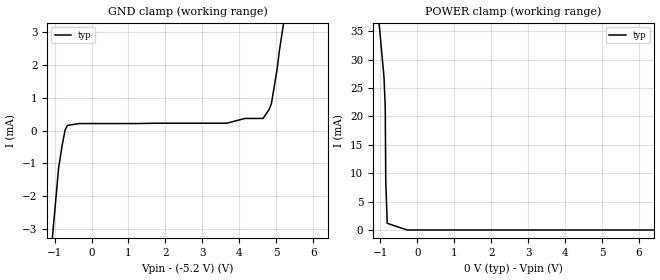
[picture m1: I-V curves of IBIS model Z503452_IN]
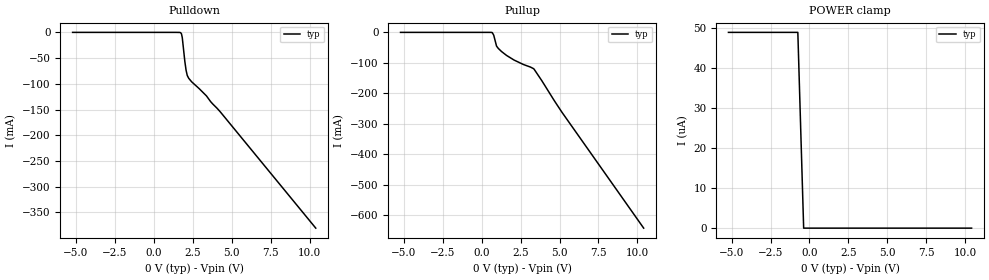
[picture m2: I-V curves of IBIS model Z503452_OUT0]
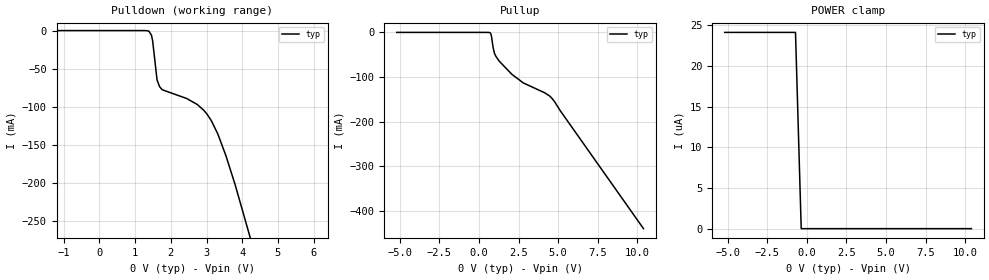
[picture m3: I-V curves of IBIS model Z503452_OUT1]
| YOU ARE ONLY AUTHORIZED TO USE THIS SOFTWARE
| ACCORDING TO LICENSOR'S LICENSE RESTRICTIONS.
[IBIS Ver] 3.1
[File Name] mc10h209p.ibs
[File Rev] 2.0
[Source] Measured and created by ICX Technology
[Date] Friday 7/14/00 9:07:50 AM
[Copyright]
| (C) COPYRIGHT 1993-2000
| MENTOR GRAPHICS CORPORATION
| ICX STANDARD LIBRARY, ICX PROJECT MODELING,
| ICX CUSTOM MODELING, ICX VENDOR MODEL
| ALL RIGHTS RESERVED.
| THE FOLLOWING ARE TRADEMARKS OR SERVICE MARKS OF
| MENTOR GRAPHICS CORPORATION:ICX (R), ICX STANDARD
| LIBRARY(R), ICX PROJECT MODELING(R), ICX CUSTOM
| MODELING(R), qualityIBIS(TM), MODELVIEWER(TM),
| AND MODELEDITOR(TM)
| ALL COPIES OF SOFTWARE, INCLUDING BUT NOT LIMITED TO
| ANY MODIFICATIONS, ENHANCEMENTS OR DERIVATIVE WORKS,
| MUST CONTAIN ALL MENTOR GRAPHICS CORPORATION'S
| NOTICES AND LEGENDS, INCLUDING THOSE EMBEDDED IN
| SOFTWARE AND THOSE AFFIXED TO SOFTWARE MEDIUM
| AND CONTAINER, AS RECEIVED FROM MENTOR GRAPHICS
| CORPORATION.
|  ZAP Model Builder 2.7
[Component] MC10H209P
[Manufacturer] OnSemiconductor
[Package]
| variable   typ   min   max
R_pkg  .212ohms NA NA
L_pkg  4.758nH NA NA
C_pkg  1.143pF NA NA
[Pin] signal_name  model_name  R_pin  L_pin C_pin
1 VCC1 POWER .224 7.258n 1.578p
2 AOUT Z503452_OUT0 .216 5.258n 1.288p
3 _AOUT Z503452_OUT1 .208 3.758n .998p
4 AIN Z503452_IN .2 2.758n .708p
5 AIN Z503452_IN .2 2.758n .708p
6 AIN Z503452_IN .208 3.758n .998p
7 AIN Z503452_IN .216 5.258n 1.288p
8 VEE POWER .224 7.258n 1.578p
9 BIN Z503452_IN .224 7.258n 1.578p
10 BIN Z503452_IN .216 5.258n 1.288p
11 BIN Z503452_IN .208 3.758n .998p
12 BIN Z503452_IN .2 2.758n .708p
13 BIN Z503452_IN .2 2.758n .708p
14 _BOUT Z503452_OUT1 .208 3.758n .998p
15 BOUT Z503452_OUT0 .216 5.258n 1.288p
16 VCC2 POWER .224 7.258n 1.578p
| Models and submodels in the file (3): Z503452_IN (Input_ECL), Z503452_OUT0 (Output_ECL), Z503452_OUT1 (Output_ECL)
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| (C) COPYRIGHT 1993-2000
| MENTOR GRAPHICS CORPORATION
| ICX STANDARD LIBRARY, ICX PROJECT MODELING,
| ICX CUSTOM MODELING, ICX VENDOR MODEL
| ALL RIGHTS RESERVED.
| THE FOLLOWING ARE TRADEMARKS OR SERVICE MARKS OF
| MENTOR GRAPHICS CORPORATION:ICX (R), ICX STANDARD
| LIBRARY(R), ICX PROJECT MODELING(R), ICX CUSTOM
| MODELING(R), qualityIBIS(TM), MODELVIEWER(TM),
| AND MODELEDITOR(TM)
| ALL COPIES OF SOFTWARE, INCLUDING BUT NOT LIMITED TO
| ANY MODIFICATIONS, ENHANCEMENTS OR DERIVATIVE WORKS,
| MUST CONTAIN ALL MENTOR GRAPHICS CORPORATION'S
| NOTICES AND LEGENDS, INCLUDING THOSE EMBEDDED IN
| SOFTWARE AND THOSE AFFIXED TO SOFTWARE MEDIUM
| AND CONTAINER, AS RECEIVED FROM MENTOR GRAPHICS
| CORPORATION.
| Model Application Version 1.89 2/18/99.
[Model] Z503452_IN
Model_type Input_ECL
Vinl = -1.480V
Vinh = -1.130V
C_comp 4.000pF NA NA
| variable typ   min   max
[Voltage Range] -5.200V NA NA
[GND Clamp Reference] -5.200V NA NA
[POWER Clamp Reference] 0.000V NA NA
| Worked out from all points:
|   GND clamp passes 1 mA (typ) near -0.87 V on its own axis
[GND Clamp]
-5.2V     -255.4mA   NA         NA
-1.109V   -3.888mA   NA         NA
-892mV    -1.15mA    NA         NA
-796mV    -452.7uA   NA         NA
-713mV    21.16uA    NA         NA
-654mV    156.5uA    NA         NA
3.661V    222.2uA    NA         NA
4.645V    367.9uA    NA         NA
4.868V    812.6uA    NA         NA
5.028V    1.895mA    NA         NA
5.084V    2.42mA     NA         NA
10.4V     41.35mA    NA         NA
[POWER Clamp]
-5.2V     635.3mA    NA         NA
-1.82V    78.72mA    NA         NA
-1.733V   70.35mA    NA         NA
-1.201V   45.87mA    NA         NA
-1.016V   35.04mA    NA         NA
-903.4mV  26.96mA    NA         NA
-869.1mV  21.72mA    NA         NA
-854.5mV  8.573mA    NA         NA
-815.4mV  1.179mA    NA         NA
-542mV    570.5uA    NA         NA
-271mV    0A         NA         NA
10.4V     0A         NA         NA
| (C) COPYRIGHT 1993-2000
| MENTOR GRAPHICS CORPORATION
| ICX STANDARD LIBRARY, ICX PROJECT MODELING,
| ICX CUSTOM MODELING, ICX VENDOR MODEL
| ALL RIGHTS RESERVED.
| THE FOLLOWING ARE TRADEMARKS OR SERVICE MARKS OF
| MENTOR GRAPHICS CORPORATION:ICX (R), ICX STANDARD
| LIBRARY(R), ICX PROJECT MODELING(R), ICX CUSTOM
| MODELING(R), qualityIBIS(TM), MODELVIEWER(TM),
| AND MODELEDITOR(TM)
| ALL COPIES OF SOFTWARE, INCLUDING BUT NOT LIMITED TO
| ANY MODIFICATIONS, ENHANCEMENTS OR DERIVATIVE WORKS,
| MUST CONTAIN ALL MENTOR GRAPHICS CORPORATION'S
| NOTICES AND LEGENDS, INCLUDING THOSE EMBEDDED IN
| SOFTWARE AND THOSE AFFIXED TO SOFTWARE MEDIUM
| AND CONTAINER, AS RECEIVED FROM MENTOR GRAPHICS
| CORPORATION.
| Model Application Version 1.89 2/18/99.
[Model] Z503452_OUT0
Model_type Output_ECL
Vref=-2.000V
Rref=50.00ohms
Cref=0.000F
Vmeas=-1.305V
C_comp 8.000pF NA NA
| variable typ   min   max
[Voltage Range] -5.200V NA NA
[POWER Clamp Reference] 0.000V NA NA
[Pullup Reference] 0.000V NA NA
[Pulldown Reference] 0.000V NA NA
[GND Clamp Reference] -5.200V NA NA
[GND Clamp]
-5.2V     0A         NA         NA
10.4V     0A         NA         NA
[Pulldown]
-5.2V     225.1uA    NA         NA
1.743V    -835uA     NA         NA
1.787V    -2.874mA   NA         NA
1.836V    -10mA      NA         NA
2.002V    -56.69mA   NA         NA
2.082V    -73.77mA   NA         NA
2.154V    -83.43mA   NA         NA
2.246V    -88.97mA   NA         NA
3.389V    -123.4mA   NA         NA
3.652V    -134.4mA   NA         NA
4.272V    -154.3mA   NA         NA
10.4V     -380.6mA   NA         NA
[Pullup]
-5.2V     167.3uA    NA         NA
687mV     -723.5uA   NA         NA
780.3mV   -9.181mA   NA         NA
959.4mV   -44.82mA   NA         NA
1.277V    -62.6mA    NA         NA
2.084V    -90.77mA   NA         NA
3.37V     -120.8mA   NA         NA
5.151V    -261.8mA   NA         NA
10.4V     -642.8mA   NA         NA
[POWER Clamp]
-5.2V     49uA       NA         NA
-748mV    49uA       NA         NA
-374mV    0A         NA         NA
10.4V     0A         NA         NA
[Ramp]
| variable typ min max
dV/dt_r 567.4m/869.1p NA NA
dV/dt_f 567.4m/525.8p NA NA
R_load = 50.00Ohms
| (C) COPYRIGHT 1993-2000
| MENTOR GRAPHICS CORPORATION
| ICX STANDARD LIBRARY, ICX PROJECT MODELING,
| ICX CUSTOM MODELING, ICX VENDOR MODEL
| ALL RIGHTS RESERVED.
| THE FOLLOWING ARE TRADEMARKS OR SERVICE MARKS OF
| MENTOR GRAPHICS CORPORATION:ICX (R), ICX STANDARD
| LIBRARY(R), ICX PROJECT MODELING(R), ICX CUSTOM
| MODELING(R), qualityIBIS(TM), MODELVIEWER(TM),
| AND MODELEDITOR(TM)
| ALL COPIES OF SOFTWARE, INCLUDING BUT NOT LIMITED TO
| ANY MODIFICATIONS, ENHANCEMENTS OR DERIVATIVE WORKS,
| MUST CONTAIN ALL MENTOR GRAPHICS CORPORATION'S
| NOTICES AND LEGENDS, INCLUDING THOSE EMBEDDED IN
| SOFTWARE AND THOSE AFFIXED TO SOFTWARE MEDIUM
| AND CONTAINER, AS RECEIVED FROM MENTOR GRAPHICS
| CORPORATION.
| Model Application Version 1.89 2/18/99.
[Model] Z503452_OUT1
Model_type Output_ECL
Vref=-2.000V
Rref=50.00ohms
Cref=0.000F
Vmeas=-1.305V
C_comp 8.000pF NA NA
| variable typ   min   max
[Voltage Range] -5.200V NA NA
[POWER Clamp Reference] 0.000V NA NA
[Pullup Reference] 0.000V NA NA
[Pulldown Reference] 0.000V NA NA
[GND Clamp Reference] -5.200V NA NA
[GND Clamp]
-5.2V     0A         NA         NA
10.4V     0A         NA         NA
[Pulldown]
-5.2V     193.3uA    NA         NA
1.387V    -577.7uA   NA         NA
1.46V     -6.114mA   NA         NA
1.492V    -13.44mA   NA         NA
1.615V    -64.84mA   NA         NA
1.684V    -73.49mA   NA         NA
2.739V    -97.06mA   NA         NA
3.021V    -110.3mA   NA         NA
3.315V    -135.8mA   NA         NA
3.542V    -164.4mA   NA         NA
3.799V    -202.4mA   NA         NA
10.4V     -1.291A    NA         NA
[Pullup]
-5.2V     187.7uA    NA         NA
687.1mV   -433.1uA   NA         NA
729.6mV   -1.758mA   NA         NA
781.3mV   -7.189mA   NA         NA
888.8mV   -33.3mA    NA         NA
976.5mV   -46.85mA   NA         NA
1.274V    -64.19mA   NA         NA
2.08V     -93.89mA   NA         NA
2.802V    -113.2mA   NA         NA
4.155V    -135.3mA   NA         NA
4.6V      -147.2mA   NA         NA
10.4V     -440mA     NA         NA
[POWER Clamp]
-5.2V     24.1uA     NA         NA
-723.2mV  24.1uA     NA         NA
-361.6mV  0A         NA         NA
10.4V     0A         NA         NA
[Ramp]
| variable typ min max
dV/dt_r 379.3m/602.7p NA NA
dV/dt_f 379.3m/1.204n NA NA
R_load = 50.00Ohms
